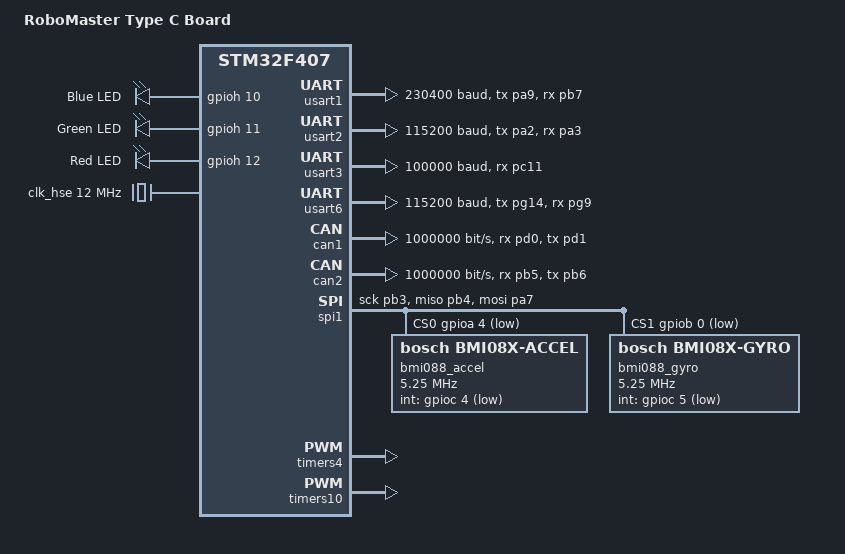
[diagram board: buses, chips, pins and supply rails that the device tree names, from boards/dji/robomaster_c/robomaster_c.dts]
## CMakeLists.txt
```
cmake_minimum_required(VERSION 3.20.0)

find_package(Zephyr REQUIRED HINTS $ENV{ZEPHYR_BASE})
project(unit2_app)

target_sources(app PRIVATE
	src/main.c
	src/balance_ctrl.c
	src/chassis_base.c
	src/chassis_inputs.c
	src/chassis_outputs.c
	src/chassis_telemetry.c
	src/chassis_threads.c
	src/chassis_sm.c
	src/x_axis_motor_map.c
	src/rm_sbus.c
	src/dm4310_motor.c
	src/rm_m3508.c
	src/rm_imu.c
	src/lk_motor.c
)
```

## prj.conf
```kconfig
CONFIG_SENSOR=y
CONFIG_SENSOR_ASYNC_API=y
CONFIG_BMI08X=y
CONFIG_SPI=y
CONFIG_GPIO=y
CONFIG_DMA=y
CONFIG_SERIAL=y
CONFIG_UART_ASYNC_API=y
CONFIG_CAN=y
CONFIG_PRINTK=y
CONFIG_LOG=y
CONFIG_CBPRINTF_FP_SUPPORT=y
CONFIG_FLASH=y
CONFIG_FLASH_MAP=y
CONFIG_NVS=y
```

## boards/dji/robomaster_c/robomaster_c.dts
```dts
/*
 * SPDX-License-Identifier: Apache-2.0
 */

/dts-v1/;

#include <st/f4/stm32f407Xg.dtsi>
#include <st/f4/stm32f407i(e-g)hx-pinctrl.dtsi>
#include <zephyr/dt-bindings/dma/stm32_dma.h>
#include <zephyr/dt-bindings/gpio/gpio.h>

/ {
	model = "RoboMaster Type C Board";
	compatible = "dji,robomaster-c", "st,stm32f407";

	chosen {
		zephyr,console = &usart6;
		zephyr,shell-uart = &usart2;
		zephyr,sram = &sram0;
		zephyr,flash = &flash0;
		zephyr,dtcm = &ccm0;
		zephyr,canbus = &can1;
	};

	aliases {
		led0 = &blue_led;
		led1 = &green_led;
		led2 = &red_led;
		watchdog0 = &iwdg;
	};

	leds {
		compatible = "gpio-leds";

		blue_led: led_0 {
			gpios = <&gpioh 10 GPIO_ACTIVE_HIGH>;
			label = "Blue LED";
		};

		green_led: led_1 {
			gpios = <&gpioh 11 GPIO_ACTIVE_HIGH>;
			label = "Green LED";
		};

		red_led: led_2 {
			gpios = <&gpioh 12 GPIO_ACTIVE_HIGH>;
			label = "Red LED";
		};
	};
};

&clk_hse {
	clock-frequency = <DT_FREQ_M(12)>;
	status = "okay";
};

&pll {
	div-m = <6>;
	mul-n = <168>;
	div-p = <2>;
	div-q = <7>;
	clocks = <&clk_hse>;
	status = "okay";
};

&rcc {
	clocks = <&pll>;
	clock-frequency = <DT_FREQ_M(168)>;
	ahb-prescaler = <1>;
	apb1-prescaler = <4>;
	apb2-prescaler = <2>;
};

&usart1 {
	pinctrl-0 = <&usart1_tx_pa9 &usart1_rx_pb7>;
	pinctrl-names = "default";
	current-speed = <230400>;
	status = "okay";
};

&usart2 {
	pinctrl-0 = <&usart2_tx_pa2 &usart2_rx_pa3>;
	pinctrl-names = "default";
	current-speed = <115200>;
	status = "okay";
};

&usart3 {
	pinctrl-0 = <&usart3_rx_pc11>;
	pinctrl-names = "default";
	current-speed = <100000>;
	dmas = <&dma1 3 4 STM32_DMA_PERIPH_TX STM32_DMA_FIFO_FULL>,
	       <&dma1 1 4 (STM32_DMA_PERIPH_RX | STM32_DMA_MODE_CYCLIC) STM32_DMA_FIFO_FULL>;
	dma-names = "tx", "rx";
	status = "okay";
};

&dma1 {
	status = "okay";
};

&usart6 {
	pinctrl-0 = <&usart6_tx_pg14 &usart6_rx_pg9>;
	pinctrl-names = "default";
	current-speed = <115200>;
	status = "okay";
};

&can1 {
	pinctrl-0 = <&can1_rx_pd0 &can1_tx_pd1>;
	pinctrl-names = "default";
	bitrate = <1000000>;
	status = "okay";
};

&can2 {
	pinctrl-0 = <&can2_rx_pb5 &can2_tx_pb6>;
	pinctrl-names = "default";
	bitrate = <1000000>;
	status = "okay";
};

&flash0 {
	partitions {
		compatible = "fixed-partitions";
		#address-cells = <1>;
		#size-cells = <1>;

		code_partition: partition@0 {
			label = "image-0";
			reg = <0x00000000 0x000c0000>;
		};

		storage_partition: partition@c0000 {
			label = "storage";
			reg = <0x000c0000 0x00040000>;
		};
	};
};

&spi1 {
	pinctrl-0 = <&spi1_sck_pb3 &spi1_miso_pb4 &spi1_mosi_pa7>;
	pinctrl-names = "default";
	cs-gpios = <&gpioa 4 GPIO_ACTIVE_LOW>,
		   <&gpiob 0 GPIO_ACTIVE_LOW>;
	status = "okay";

	bmi088_accel: bmi088-accel@0 {
		compatible = "bosch,bmi08x-accel";
		reg = <0>;
		spi-max-frequency = <5250000>;
		spi-cpol;
		spi-cpha;
		int-gpios = <&gpioc 4 GPIO_ACTIVE_LOW>;
		int1-map-io = <0x01>;
		int1-conf-io = <0x08>;
		int2-map-io = <0x01>;
		int2-conf-io = <0x08>;
		accel-hz = "800";
		accel-fs = <3>;
	};

	bmi088_gyro: bmi088-gyro@1 {
		compatible = "bosch,bmi08x-gyro";
		reg = <1>;
		spi-max-frequency = <5250000>;
		spi-cpol;
		spi-cpha;
		int-gpios = <&gpioc 5 GPIO_ACTIVE_LOW>;
		int3-4-map-io = <0x01>;
		int3-4-conf-io = <0x00>;
		gyro-hz = "1000_116";
		gyro-fs = <2000>;
	};
};

&timers4 {
	status = "okay";

	buzzer_pwm: pwm {
		pinctrl-0 = <&tim4_ch3_pd14>;
		pinctrl-names = "default";
		status = "okay";
	};
};

&timers10 {
	status = "okay";

	imu_heater_pwm: pwm {
		pinctrl-0 = <&tim10_ch1_pf6>;
		pinctrl-names = "default";
		status = "okay";
	};
};
```

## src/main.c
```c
#include "chassis_base.h"
#include "chassis_threads.h"
#include "dm4310_motor.h"

#include <zephyr/kernel.h>
#include <zephyr/sys/printk.h>

int main(void)
{
	printk("Unit2: joint-hold + hub-motor PID balance\n");

	chassis_base_init();
	chassis_threads_start();

	/* Wait up to 5s for DM4310 bringup (joints need 24V power) */
	printk("Waiting for DM4310 bringup (max 5s)...\n");
	for (int i = 0; i < 100 && !g_dm4310.bringup_done; i++) {
		k_sleep(K_MSEC(50));
	}
	if (g_dm4310.bringup_done) {
		printk("Bringup done (%u motors online), holding joints\n", g_dm4310.online_mask);
	} else {
		printk("Bringup timeout - joint hold disabled, balance only\n");
	}

	/* Auto-enable without remote: force SBUS connected + all switches on */
	g_chassis_debug_override.magic = 0x44424731U;
	g_chassis_debug_override.force_sbus_connected = 1U;
	g_chassis_debug_override.force_ch5 = 2U;
	g_chassis_debug_override.force_ch6 = 2U;
	g_chassis_debug_override.force_ch8 = 2U;

	printk("Balance control auto-enabled. Stand by.\n");

	while (1) {
		k_sleep(K_FOREVER);
	}

	return 0;
}
```

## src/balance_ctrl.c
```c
#include "balance_ctrl.h"

#include <math.h>
#include <string.h>

/* Balance control tunables. Keep this block together for OpenOCD tuning. */
#define BALANCE_WHEEL_SPEED_LIMIT_RPM 3000.0f
#define BALANCE_WHEEL_CURRENT_LIMIT 16384.0f
#define BALANCE_RC_INPUT_MAX 1684.0f
#define BALANCE_RC_SPEED_LIMIT_RPM BALANCE_WHEEL_SPEED_LIMIT_RPM

/* Set to -1.0f if wheels spin the wrong direction when tilting */
#define BALANCE_PITCH_SIGN 1.0f

#define BALANCE_SPEED_KP_DEFAULT 10.0f
#define BALANCE_SPEED_KI_DEFAULT 0.02f
#define BALANCE_SPEED_INTEGRAL_LIMIT 80000.0f

#define BALANCE_PITCH_KP_DEFAULT 30.0f
#define BALANCE_PITCH_KD_DEFAULT 0.5f

volatile struct balance_ctrl_state g_balance_ctrl = {
	.magic = BALANCE_CTRL_MAGIC,
};

static float clampf_local(float value, float min_value, float max_value)
{
	if (value > max_value) {
		return max_value;
	}
	if (value < min_value) {
		return min_value;
	}

	return value;
}

static void clear_output(struct balance_ctrl_output *output)
{
	output->active = 0U;
	output->wheel_current[0] = 0;
	output->wheel_current[1] = 0;
}

static void clear_runtime(volatile struct balance_ctrl_state *ctrl)
{
	ctrl->pitch_zero_deg = 0.0f;
	ctrl->pitch_deg = 0.0f;
	ctrl->pitch_rate_dps = 0.0f;
	ctrl->pitch_target_deg = 0.0f;
	ctrl->pitch_error_deg = 0.0f;
	ctrl->pitch_rate_error_dps = 0.0f;
	ctrl->speed_target_rpm = 0.0f;
	ctrl->rc_speed_target_rpm = 0.0f;
	ctrl->balance_speed_target_rpm = 0.0f;
	ctrl->left_speed_target_rpm = 0.0f;
	ctrl->right_speed_target_rpm = 0.0f;
	ctrl->vehicle_speed_rpm = 0.0f;
	ctrl->left_speed_error_rpm = 0.0f;
	ctrl->right_speed_error_rpm = 0.0f;
	ctrl->left_speed_integral = 0.0f;
	ctrl->right_speed_integral = 0.0f;
	ctrl->pitch_p_out_rpm = 0.0f;
	ctrl->pitch_d_out_rpm = 0.0f;
	ctrl->left_speed_p_out = 0.0f;
	ctrl->left_speed_i_out = 0.0f;
	ctrl->right_speed_p_out = 0.0f;
	ctrl->right_speed_i_out = 0.0f;
	ctrl->left_current = 0.0f;
	ctrl->right_current = 0.0f;
}

static void controller_reset(volatile struct balance_ctrl_state *ctrl)
{
	ctrl->enabled = 0U;
	ctrl->captured = 0U;
	clear_runtime(ctrl);
}

static float rc_to_speed_target_rpm(int32_t rc_forward)
{
	float target = (float)rc_forward * BALANCE_RC_SPEED_LIMIT_RPM / BALANCE_RC_INPUT_MAX;

	return clampf_local(target, -BALANCE_RC_SPEED_LIMIT_RPM,
			    BALANCE_RC_SPEED_LIMIT_RPM);
}

static float update_pitch_loop(volatile struct balance_ctrl_state *ctrl,
			       const struct balance_ctrl_input *input)
{
	ctrl->pitch_deg = input->pitch_deg;
	ctrl->pitch_rate_dps = input->pitch_rate_dps;
	ctrl->pitch_target_deg = ctrl->pitch_zero_deg;
	ctrl->pitch_error_deg = (input->pitch_deg - ctrl->pitch_zero_deg) * BALANCE_PITCH_SIGN;
	ctrl->pitch_rate_error_dps = input->pitch_rate_dps * BALANCE_PITCH_SIGN;
	ctrl->pitch_p_out_rpm = ctrl->pitch_pd.kp * ctrl->pitch_error_deg;
	ctrl->pitch_d_out_rpm = ctrl->pitch_pd.kd * ctrl->pitch_rate_error_dps;
	ctrl->balance_speed_target_rpm = ctrl->pitch_p_out_rpm + ctrl->pitch_d_out_rpm;

	return clampf_local(ctrl->balance_speed_target_rpm,
			    -BALANCE_WHEEL_SPEED_LIMIT_RPM,
			    BALANCE_WHEEL_SPEED_LIMIT_RPM);
}

static float update_wheel_speed_loop(volatile struct balance_ctrl_state *ctrl,
				     float target_rpm, float actual_rpm, uint8_t left)
{
	float error = target_rpm - actual_rpm;
	float integral;
	float p_out;
	float i_out;
	float current;

	if (left != 0U) {
		ctrl->left_speed_error_rpm = error;
		ctrl->left_speed_integral += error;
		ctrl->left_speed_integral =
			clampf_local(ctrl->left_speed_integral,
				     -ctrl->speed_pi.integral_limit,
				     ctrl->speed_pi.integral_limit);
		integral = ctrl->left_speed_integral;
	} else {
		ctrl->right_speed_error_rpm = error;
		ctrl->right_speed_integral += error;
		ctrl->right_speed_integral =
			clampf_local(ctrl->right_speed_integral,
				     -ctrl->speed_pi.integral_limit,
				     ctrl->speed_pi.integral_limit);
		integral = ctrl->right_speed_integral;
	}

	p_out = ctrl->speed_pi.kp * error;
	i_out = ctrl->speed_pi.ki * integral;
	current = clampf_local(p_out + i_out, -ctrl->speed_pi.output_limit,
			       ctrl->speed_pi.output_limit);

	if (left != 0U) {
		ctrl->left_speed_p_out = p_out;
		ctrl->left_speed_i_out = i_out;
		ctrl->left_current = current;
	} else {
		ctrl->right_speed_p_out = p_out;
		ctrl->right_speed_i_out = i_out;
		ctrl->right_current = current;
	}

	return current;
}

void balance_ctrl_init(volatile struct balance_ctrl_state *ctrl)
{
	memset((void *)ctrl, 0, sizeof(*ctrl));
	ctrl->magic = BALANCE_CTRL_MAGIC;

	ctrl->speed_pi.kp = BALANCE_SPEED_KP_DEFAULT;
	ctrl->speed_pi.ki = BALANCE_SPEED_KI_DEFAULT;
	ctrl->speed_pi.integral_limit = BALANCE_SPEED_INTEGRAL_LIMIT;
	ctrl->speed_pi.output_limit = BALANCE_WHEEL_CURRENT_LIMIT;

	ctrl->pitch_pd.kp = BALANCE_PITCH_KP_DEFAULT;
	ctrl->pitch_pd.kd = BALANCE_PITCH_KD_DEFAULT;
	ctrl->pitch_pd.output_limit = BALANCE_WHEEL_SPEED_LIMIT_RPM;
}

void balance_ctrl_update(volatile struct balance_ctrl_state *ctrl,
			 const struct balance_ctrl_input *input,
			 struct balance_ctrl_output *output)
{
	float rc_speed_target;
	float balance_speed_target;
	float left_current;
	float right_current;

	ctrl->update_count++;
	ctrl->last_ms = input->now_ms;
	ctrl->enabled = input->enabled;

	clear_output(output);

	if (input->enabled == 0U) {
		controller_reset(ctrl);
		return;
	}

	if (ctrl->captured == 0U) {
		ctrl->pitch_zero_deg = input->pitch_deg;
		ctrl->captured = 1U;
	}

	rc_speed_target = rc_to_speed_target_rpm(input->rc_forward);
	balance_speed_target = update_pitch_loop(ctrl, input);

	ctrl->rc_speed_target_rpm = rc_speed_target;
	ctrl->speed_target_rpm = rc_speed_target;
	ctrl->vehicle_speed_rpm =
		((float)input->wheel_speed_rpm[0] + (float)input->wheel_speed_rpm[1]) *
		0.5f;
	ctrl->left_speed_target_rpm =
		clampf_local(balance_speed_target + rc_speed_target,
			     -BALANCE_WHEEL_SPEED_LIMIT_RPM,
			     BALANCE_WHEEL_SPEED_LIMIT_RPM);
	ctrl->right_speed_target_rpm = ctrl->left_speed_target_rpm;

	left_current = update_wheel_speed_loop(ctrl, ctrl->left_speed_target_rpm,
					       (float)input->wheel_speed_rpm[0], 1U);
	right_current = update_wheel_speed_loop(ctrl, ctrl->right_speed_target_rpm,
						(float)input->wheel_speed_rpm[1], 0U);

	output->active = 1U;
	output->wheel_current[0] = (int16_t)lrintf(left_current);
	output->wheel_current[1] = (int16_t)lrintf(right_current);
}
```

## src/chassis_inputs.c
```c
#include "chassis_inputs.h"

#include "chassis_base.h"
#include "dm4310_motor.h"
#include "rm_imu.h"
#include "rm_m3508.h"
#include "rm_sbus.h"

#define CONTROL_DT_S 0.001f
#define SBUS_RAW_MIN 240
#define SBUS_RAW_MAX 1807
#define SBUS_CH0_ZERO_RAW 1024
#define SBUS_CH1_ZERO_RAW 1027
#define SBUS_RAW_DEADBAND 8
#define RAD_TO_DEG 57.295779513f

static int32_t sbus_raw_to_target(uint16_t raw, uint16_t zero_raw)
{
	int32_t delta = (int32_t)raw - (int32_t)zero_raw;
	int32_t span;

	if (delta > -SBUS_RAW_DEADBAND && delta < SBUS_RAW_DEADBAND) {
		return 0;
	}

	if (delta >= 0) {
		span = SBUS_RAW_MAX - (int32_t)zero_raw;
	} else {
		span = (int32_t)zero_raw - SBUS_RAW_MIN;
	}

	if (span <= 0) {
		return 0;
	}

	return (delta * 1684) / span;
}

void chassis_build_balance_input(struct balance_ctrl_input *input, uint32_t now)
{
	input->now_ms = now;
	input->dt_s = CONTROL_DT_S;
	input->enabled =
		(g_chassis_sm.allow_output != 0U && g_chassis_sm.chassis_control_active != 0U) ? 1U : 0U;
	input->position_hold_enabled = input->enabled;
	if (g_chassis_debug_override.magic == 0x44424731U &&
	    g_chassis_debug_override.force_rc != 0U) {
		input->rc_forward = g_chassis_debug_override.rc_forward;
		input->rc_turn = g_chassis_debug_override.rc_turn;
	} else if (g_sbus_snapshot.connected != 0U) {
		input->rc_forward = sbus_raw_to_target(g_sbus_snapshot.raw[1], SBUS_CH1_ZERO_RAW);
		input->rc_turn = sbus_raw_to_target(g_sbus_snapshot.raw[0], SBUS_CH0_ZERO_RAW);
	} else {
		input->rc_forward = 0;
		input->rc_turn = 0;
	}
	input->pitch_deg = g_rm_imu.pitch;
	input->pitch_rate_dps = g_rm_imu.gyro[1] * RAD_TO_DEG;

	for (int i = 0; i < BALANCE_CTRL_WHEEL_COUNT; i++) {
		input->wheel_online[i] = g_rm_m3508.motor[i].online;
		input->wheel_angle_raw[i] = g_rm_m3508.motor[i].angle_raw;
		input->wheel_speed_rpm[i] = g_rm_m3508.motor[i].speed_rpm;
	}
}

void chassis_build_sm_input(struct chassis_sm_input *input, uint32_t now)
{
	input->now_ms = now;
	input->joint_online_mask = g_dm4310.online_mask;
	input->sbus_connected = g_sbus_snapshot.connected;
	input->fault = 0U;
	input->ch5 = g_sbus_snapshot.channel[4];
	input->ch6 = g_sbus_snapshot.channel[5];
	input->ch8 = g_sbus_snapshot.channel[7];
	if (g_chassis_debug_override.magic == 0x44424731U) {
		if (g_chassis_debug_override.force_sbus_connected != 0U) {
			input->sbus_connected = g_chassis_debug_override.force_sbus_connected;
		}
		if (g_chassis_debug_override.force_ch5 != 0U) {
			input->ch5 = g_chassis_debug_override.force_ch5;
		}
		if (g_chassis_debug_override.force_ch6 != 0U) {
			input->ch6 = g_chassis_debug_override.force_ch6;
		}
		if (g_chassis_debug_override.force_ch8 != 0U) {
			input->ch8 = g_chassis_debug_override.force_ch8;
		}
		if (g_chassis_debug_override.force_sbus_connected != 0U &&
		    g_chassis_debug_override.force_ch5 == 2U) {
			input->joint_online_mask = CHASSIS_SM_JOINT_REQUIRED_MASK;
		}
	}

	for (int i = 0; i < CHASSIS_SM_JOINT_COUNT; i++) {
		input->joint_position[i] = g_dm4310.motor[i].pos_rad;
	}
}
```

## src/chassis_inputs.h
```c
#ifndef CHASSIS_INPUTS_H_
#define CHASSIS_INPUTS_H_

#include "balance_ctrl.h"
#include "chassis_sm.h"

#include <stdint.h>

void chassis_build_balance_input(struct balance_ctrl_input *input, uint32_t now);
void chassis_build_sm_input(struct chassis_sm_input *input, uint32_t now);

#endif
```

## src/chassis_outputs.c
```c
#include "chassis_outputs.h"

#include "balance_ctrl.h"
#include "chassis_base.h"
#include "chassis_inputs.h"
#include "chassis_sm.h"
#include "dm4310_motor.h"
#include "rm_m3508.h"
#include "rm_sbus.h"

static uint8_t last_m3508_mode;
static uint8_t last_joint_output_active;
static uint8_t last_chassis_output_active;

uint8_t chassis_apply_joint_state(void)
{
	float hold_ref[CHASSIS_SM_JOINT_COUNT];

	if (g_chassis_sm.allow_output == 0U || g_chassis_sm.joint_hold_active == 0U) {
		if (last_joint_output_active != 0U ||
		    (g_chassis_sm.events &
		     (CHASSIS_SM_EVENT_SYSTEM_ESTOP | CHASSIS_SM_EVENT_JOINT_RELAX)) != 0U) {
			dm4310_stop_all();
			g_chassis_base.joint_hold_ret = 0;
			last_joint_output_active = 0U;
			return 1U;
		}
		g_chassis_base.joint_hold_ret = 0;
		last_joint_output_active = 0U;
		return 0U;
	}

	for (int i = 0; i < CHASSIS_SM_JOINT_COUNT; i++) {
		hold_ref[i] = g_chassis_sm.joint_hold_ref[i];
	}
	if (last_joint_output_active == 0U ||
	    (g_chassis_sm.events & CHASSIS_SM_EVENT_JOINT_HOLD) != 0U) {
		dm4310_hold_reset();
	}
	g_chassis_base.joint_hold_ret =
		dm4310_hold_positions(hold_ref);
	last_joint_output_active = 1U;
	return 1U;
}

void chassis_apply_m3508_command(void)
{
	if (g_chassis_debug_override.magic == 0x44424731U &&
	    g_chassis_debug_override.force_m3508_current != 0U) {
		/* Debug override: bypass SM gate, send current directly */
		last_chassis_output_active = 1U;
		g_chassis_base.m3508_apply_ret = rm_m3508_set_all_current(
			g_chassis_m3508_cmd.current[RM_M3508_CAN1_ID201],
			g_chassis_m3508_cmd.current[RM_M3508_CAN2_ID202]);
		if (g_chassis_base.m3508_apply_ret == 0) {
			g_chassis_base.m3508_apply_ret = rm_m3508_send_currents();
		}
		last_m3508_mode = CHASSIS_M3508_MODE_CURRENT;
		return;
	}

	if (g_chassis_debug_override.magic == 0x44424731U &&
	    g_chassis_debug_override.force_m3508_current == 0U) {
		/* Balance mode: skip SM gate, send PID output */
	}

	if (g_chassis_m3508_cmd.mode == CHASSIS_M3508_MODE_DISABLED) {
		if (last_chassis_output_active != 0U ||
		    last_m3508_mode != CHASSIS_M3508_MODE_DISABLED ||
		    (g_chassis_sm.events &
		     (CHASSIS_SM_EVENT_SYSTEM_ESTOP | CHASSIS_SM_EVENT_CHASSIS_OFF)) != 0U) {
			rm_m3508_stop();
		}
		g_chassis_base.m3508_apply_ret = 0;
		last_chassis_output_active = 0U;
		last_m3508_mode = CHASSIS_M3508_MODE_DISABLED;
		return;
	}

	last_chassis_output_active = 1U;

	if (g_chassis_m3508_cmd.mode == CHASSIS_M3508_MODE_DISABLED &&
	    last_m3508_mode != CHASSIS_M3508_MODE_DISABLED) {
		rm_m3508_stop();
		g_chassis_base.m3508_apply_ret = 0;
		last_m3508_mode = g_chassis_m3508_cmd.mode;
		return;
	}

	switch (g_chassis_m3508_cmd.mode) {
	case CHASSIS_M3508_MODE_CURRENT:
		g_chassis_base.m3508_apply_ret = rm_m3508_set_all_current(
			g_chassis_m3508_cmd.current[RM_M3508_CAN1_ID201],
			g_chassis_m3508_cmd.current[RM_M3508_CAN2_ID202]);
		if (g_chassis_base.m3508_apply_ret == 0) {
			g_chassis_base.m3508_apply_ret = rm_m3508_send_currents();
		}
		break;
	case CHASSIS_M3508_MODE_DISABLED:
	default:
		g_chassis_base.m3508_apply_ret = 0;
		break;
	}

	last_m3508_mode = g_chassis_m3508_cmd.mode;
}

void chassis_apply_balance_control(uint32_t now)
{
	struct balance_ctrl_input input;
	struct balance_ctrl_output output;

	chassis_build_balance_input(&input, now);
	balance_ctrl_update(&g_balance_ctrl, &input, &output);

	g_chassis_base.balance_updates++;
	g_chassis_base.balance_active = output.active;
	g_chassis_base.balance_left_current = output.wheel_current[0];
	g_chassis_base.balance_right_current = output.wheel_current[1];

	if (output.active != 0U) {
		g_chassis_m3508_cmd.mode = CHASSIS_M3508_MODE_CURRENT;
		g_chassis_m3508_cmd.current[RM_M3508_CAN1_ID201] = output.wheel_current[0];
		g_chassis_m3508_cmd.current[RM_M3508_CAN2_ID202] = output.wheel_current[1];
	}
}

void chassis_update_common_status(uint32_t now)
{
	g_chassis_base.last_ms = now;
	g_chassis_base.sbus_seq = g_sbus_snapshot.seq;
	g_chassis_base.sbus_connected = g_sbus_snapshot.connected;
	g_chassis_base.lk_online_mask = g_dm4310.online_mask;
	g_chassis_base.lk_encoder_valid_mask = g_dm4310.online_mask;
	g_chassis_base.m3508_online_mask =
		(g_rm_m3508.motor[RM_M3508_CAN1_ID201].online ? 0x01U : 0U) |
		(g_rm_m3508.motor[RM_M3508_CAN2_ID202].online ? 0x02U : 0U);
	g_chassis_base.sm_events = g_chassis_sm.events;
	g_chassis_base.sm_joint_hold_valid_mask = g_chassis_sm.joint_hold_valid_mask;
	g_chassis_base.sm_system_state = g_chassis_sm.system_state;
	g_chassis_base.sm_joint_state = g_chassis_sm.joint_state;
	g_chassis_base.sm_chassis_state = g_chassis_sm.chassis_state;
	g_chassis_base.sm_fault = g_chassis_sm.fault;
	g_chassis_base.sbus_ch5 = g_chassis_sm.ch5;
	g_chassis_base.sbus_ch6 = g_chassis_sm.ch6;
	g_chassis_base.sbus_ch8 = g_chassis_sm.ch8;
}
```

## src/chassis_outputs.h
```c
#ifndef CHASSIS_OUTPUTS_H_
#define CHASSIS_OUTPUTS_H_

#include <stdint.h>

uint8_t chassis_apply_joint_state(void);
void chassis_apply_balance_control(uint32_t now);
void chassis_apply_m3508_command(void);
void chassis_update_common_status(uint32_t now);

#endif
```

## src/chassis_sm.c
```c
#include "chassis_sm.h"

#include <string.h>

volatile struct chassis_sm g_chassis_sm = {
	.magic = CHASSIS_SM_MAGIC,
};

static uint8_t switch_is_on(uint8_t value)
{
	return value == 2U ? 1U : 0U;
}

void chassis_sm_init(volatile struct chassis_sm *sm)
{
	memset((void *)sm, 0, sizeof(*sm));
	sm->magic = CHASSIS_SM_MAGIC;
	sm->system_state = CHASSIS_SM_SYSTEM_DISABLED;
	sm->joint_state = CHASSIS_SM_JOINT_RELAX;
	sm->chassis_state = CHASSIS_SM_CHASSIS_OFF;
}

void chassis_sm_update(volatile struct chassis_sm *sm, const struct chassis_sm_input *input)
{
	uint8_t system_state;
	uint8_t joint_state;
	uint8_t chassis_state;

	sm->update_count++;
	sm->last_ms = input->now_ms;
	sm->events = 0U;
	sm->sbus_connected = input->sbus_connected;
	sm->fault = input->fault;
	sm->ch5 = input->ch5;
	sm->ch6 = input->ch6;
	sm->ch8 = input->ch8;
	sm->ch5_on = switch_is_on(input->ch5);
	sm->ch6_on = switch_is_on(input->ch6);
	sm->ch8_on = switch_is_on(input->ch8);

	system_state = sm->system_state;
	if (input->sbus_connected == 0U || input->fault != 0U) {
		if (system_state != CHASSIS_SM_SYSTEM_ESTOP) {
			sm->events |= CHASSIS_SM_EVENT_SYSTEM_ESTOP;
		}
		system_state = CHASSIS_SM_SYSTEM_ESTOP;
	} else if (sm->ch5_on != 0U) {
		if (system_state != CHASSIS_SM_SYSTEM_ENABLED) {
			if ((input->joint_online_mask & CHASSIS_SM_JOINT_REQUIRED_MASK) ==
			    CHASSIS_SM_JOINT_REQUIRED_MASK) {
				for (int i = 0; i < CHASSIS_SM_JOINT_COUNT; i++) {
					sm->joint_hold_ref[i] = input->joint_position[i];
				}
				sm->joint_hold_valid_mask =
					input->joint_online_mask & CHASSIS_SM_JOINT_REQUIRED_MASK;
				sm->events |= CHASSIS_SM_EVENT_SYSTEM_ENABLED |
					      CHASSIS_SM_EVENT_JOINT_CAPTURED;
				system_state = CHASSIS_SM_SYSTEM_ENABLED;
			} else {
				system_state = CHASSIS_SM_SYSTEM_DISABLED;
			}
		} else {
			system_state = CHASSIS_SM_SYSTEM_ENABLED;
		}
	} else {
		if (system_state == CHASSIS_SM_SYSTEM_ENABLED) {
			system_state = CHASSIS_SM_SYSTEM_ESTOP;
			sm->events |= CHASSIS_SM_EVENT_SYSTEM_ESTOP;
		} else if (system_state != CHASSIS_SM_SYSTEM_ESTOP) {
			system_state = CHASSIS_SM_SYSTEM_DISABLED;
		}
	}
	sm->system_state = system_state;

	joint_state = (system_state == CHASSIS_SM_SYSTEM_ENABLED && sm->ch6_on != 0U) ?
			      CHASSIS_SM_JOINT_HOLD :
			      CHASSIS_SM_JOINT_RELAX;
	if (joint_state != sm->joint_state) {
		sm->events |= (joint_state == CHASSIS_SM_JOINT_HOLD) ?
				      CHASSIS_SM_EVENT_JOINT_HOLD :
				      CHASSIS_SM_EVENT_JOINT_RELAX;
		sm->joint_state = joint_state;
	}

	chassis_state = (system_state == CHASSIS_SM_SYSTEM_ENABLED && sm->ch8_on != 0U) ?
				CHASSIS_SM_CHASSIS_RUN :
				CHASSIS_SM_CHASSIS_OFF;
	if (chassis_state != sm->chassis_state) {
		sm->events |= (chassis_state == CHASSIS_SM_CHASSIS_RUN) ?
				      CHASSIS_SM_EVENT_CHASSIS_RUN :
				      CHASSIS_SM_EVENT_CHASSIS_OFF;
		sm->chassis_state = chassis_state;
	}

	sm->allow_output = system_state == CHASSIS_SM_SYSTEM_ENABLED ? 1U : 0U;
	sm->estop_active = system_state == CHASSIS_SM_SYSTEM_ESTOP ? 1U : 0U;
	sm->joint_hold_active = sm->joint_state == CHASSIS_SM_JOINT_HOLD ? 1U : 0U;
	sm->chassis_control_active =
		sm->chassis_state == CHASSIS_SM_CHASSIS_RUN ? 1U : 0U;
	sm->ch5_prev_on = sm->ch5_on;
	sm->ch6_prev_on = sm->ch6_on;
	sm->ch8_prev_on = sm->ch8_on;
}
```

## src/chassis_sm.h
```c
/**
 * @file chassis_sm.h
 * @brief 底盘状态机共享常量和结构体定义
 */

#ifndef CHASSIS_SM_H_
#define CHASSIS_SM_H_

#include <stdint.h>

#include <zephyr/sys/util.h>

/** @brief 关节电机数量 (4 台 DM4310: 左髋/左膝 + 右髋/右膝) */
#define CHASSIS_SM_JOINT_COUNT 4
#define CHASSIS_SM_JOINT_REQUIRED_MASK 0x0FU

#define CHASSIS_SM_MAGIC 0x4348334DU

/* 系统状态 */
#define CHASSIS_SM_SYSTEM_DISABLED 0U
#define CHASSIS_SM_SYSTEM_ENABLED  1U
#define CHASSIS_SM_SYSTEM_ESTOP    2U

/* 关节状态 */
#define CHASSIS_SM_JOINT_RELAX 0U
#define CHASSIS_SM_JOINT_HOLD  1U

/* 底盘控制状态 */
#define CHASSIS_SM_CHASSIS_OFF 0U
#define CHASSIS_SM_CHASSIS_RUN 1U

/* 事件位 */
#define CHASSIS_SM_EVENT_SYSTEM_ENABLED  BIT(0)
#define CHASSIS_SM_EVENT_SYSTEM_ESTOP    BIT(1)
#define CHASSIS_SM_EVENT_JOINT_CAPTURED  BIT(2)
#define CHASSIS_SM_EVENT_JOINT_HOLD      BIT(3)
#define CHASSIS_SM_EVENT_JOINT_RELAX     BIT(4)
#define CHASSIS_SM_EVENT_CHASSIS_RUN     BIT(5)
#define CHASSIS_SM_EVENT_CHASSIS_OFF     BIT(6)

struct chassis_sm {
	uint32_t magic;
	uint32_t update_count;
	uint32_t last_ms;
	uint32_t events;
	uint8_t sbus_connected;
	uint8_t fault;
	uint8_t ch5;
	uint8_t ch6;
	uint8_t ch8;
	uint8_t ch5_on;
	uint8_t ch6_on;
	uint8_t ch8_on;
	uint8_t ch5_prev_on;
	uint8_t ch6_prev_on;
	uint8_t ch8_prev_on;
	uint8_t system_state;
	uint8_t joint_state;
	uint8_t chassis_state;
	uint8_t allow_output;
	uint8_t estop_active;
	uint8_t joint_hold_active;
	uint8_t chassis_control_active;
	uint8_t reserved[2];
	float joint_hold_ref[CHASSIS_SM_JOINT_COUNT];
	uint32_t joint_hold_valid_mask;
};

struct chassis_sm_input {
	uint32_t now_ms;
	uint32_t joint_online_mask;
	uint8_t sbus_connected;
	uint8_t fault;
	uint8_t ch5;
	uint8_t ch6;
	uint8_t ch8;
	uint8_t reserved[3];
	float joint_position[CHASSIS_SM_JOINT_COUNT];
};

extern volatile struct chassis_sm g_chassis_sm;

void chassis_sm_init(volatile struct chassis_sm *sm);
void chassis_sm_update(volatile struct chassis_sm *sm, const struct chassis_sm_input *input);

#endif /* CHASSIS_SM_H_ */
```

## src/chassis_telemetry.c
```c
#include "chassis_telemetry.h"

#include "balance_ctrl.h"
#include "chassis_base.h"
#include "dm4310_motor.h"
#include "rm_imu.h"
#include "rm_m3508.h"

#include <zephyr/device.h>
#include <zephyr/devicetree.h>
#include <zephyr/drivers/uart.h>
#include <zephyr/kernel.h>
#include <zephyr/sys/printk.h>

#define TELEMETRY_THREAD_PERIOD_MS 10
#define TELEMETRY_THREAD_STACK_SIZE 2048
#define TELEMETRY_THREAD_PRIORITY 6
#define TELEMETRY_BUF_SIZE 384

static K_THREAD_STACK_DEFINE(telemetry_thread_stack, TELEMETRY_THREAD_STACK_SIZE);
static struct k_thread telemetry_thread_data;
static const struct device *const telemetry_uart = DEVICE_DT_GET(DT_NODELABEL(usart6));

static void telemetry_uart_write(const char *data, int len)
{
	if (len <= 0 || !device_is_ready(telemetry_uart)) {
		return;
	}

	for (int i = 0; i < len; i++) {
		uart_poll_out(telemetry_uart, data[i]);
	}
}

static void telemetry_thread(void *p1, void *p2, void *p3)
{
	ARG_UNUSED(p1);
	ARG_UNUSED(p2);
	ARG_UNUSED(p3);

	while (1) {
		char line[TELEMETRY_BUF_SIZE];
		int len;

		len = snprintk(line, sizeof(line),
			       "%.3f,%.3f,%.3f,%.3f,%.6f,%.6f,%d,%d,%.6f,%.6f,%.6f,%.6f,%u,%d,%u,%u,%u,%d,%d,%.6f,%.6f,%u,%d,%u,%u,%u,%u\n",
			       (double)g_rm_imu.pitch,
			       (double)g_balance_ctrl.left_speed_target_rpm,
			       (double)g_balance_ctrl.pitch_p_out_rpm,
			       (double)g_balance_ctrl.pitch_d_out_rpm,
			       (double)g_balance_ctrl.left_speed_p_out,
			       (double)g_balance_ctrl.left_speed_i_out,
			       g_rm_m3508.motor[RM_M3508_CAN1_ID201].speed_rpm,
			       g_rm_m3508.motor[RM_M3508_CAN2_ID202].speed_rpm,
			       (double)g_dm4310.motor[0].pos_rad,
			       (double)g_dm4310.motor[1].pos_rad,
			       (double)g_dm4310.motor[2].pos_rad,
			       (double)g_dm4310.motor[3].pos_rad,
			       g_chassis_debug_override.x_axis_calib_count,
			       g_chassis_debug_override.x_axis_calib_ret,
			       g_dm4310.can1_home_valid,
			       g_dm4310.can1_home_active,
			       g_dm4310.can1_home_auto_saved,
			       g_dm4310.can1_home_load_ret,
			       g_dm4310.can1_home_save_ret,
			       (double)g_dm4310.can1_home_pos_rad[0],
			       (double)g_dm4310.can1_home_pos_rad[1],
			       g_dm4310.online_mask,
			       g_dm4310.last_send_ret,
			       g_dm4310.motor[0].rx_count,
			       g_dm4310.motor[1].rx_count,
			       g_dm4310.motor[2].rx_count,
			       g_dm4310.motor[3].rx_count);
		if (len > (int)sizeof(line)) {
			len = sizeof(line);
		}
		telemetry_uart_write(line, len);
		k_sleep(K_MSEC(TELEMETRY_THREAD_PERIOD_MS));
	}
}

void chassis_telemetry_start(void)
{
	k_thread_create(&telemetry_thread_data, telemetry_thread_stack,
			K_THREAD_STACK_SIZEOF(telemetry_thread_stack), telemetry_thread, NULL, NULL,
			NULL, TELEMETRY_THREAD_PRIORITY, 0, K_NO_WAIT);
	k_thread_name_set(&telemetry_thread_data, "telemetry");
}
```

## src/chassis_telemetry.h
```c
#ifndef CHASSIS_TELEMETRY_H_
#define CHASSIS_TELEMETRY_H_

void chassis_telemetry_start(void);

#endif
```

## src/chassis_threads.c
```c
#include "chassis_threads.h"

#include "chassis_base.h"
#include "chassis_inputs.h"
#include "chassis_outputs.h"
#include "chassis_sm.h"
#include "chassis_telemetry.h"
#include "dm4310_motor.h"
#include "rm_imu.h"
#include "rm_m3508.h"
#include "x_axis_motor_map.h"

#include <zephyr/kernel.h>

#define IMU_THREAD_PERIOD_MS 2
#define CONTROL_THREAD_PERIOD_MS 1
#define IMU_THREAD_STACK_SIZE 2048
#define CONTROL_THREAD_STACK_SIZE 2048
#define IMU_THREAD_PRIORITY 2
#define CONTROL_THREAD_PRIORITY 3

static K_THREAD_STACK_DEFINE(imu_thread_stack, IMU_THREAD_STACK_SIZE);
static K_THREAD_STACK_DEFINE(control_thread_stack, CONTROL_THREAD_STACK_SIZE);
static struct k_thread imu_thread_data;
static struct k_thread control_thread_data;

static void chassis_update_x_axis_calibration(void)
{
	static uint32_t last_calib_seq;
	static uint32_t last_can1_home_save_seq;
	float motor_pos_rad[CHASSIS_SM_JOINT_COUNT];
	size_t count;

	if (g_chassis_debug_override.can1_home_save_seq != last_can1_home_save_seq) {
		last_can1_home_save_seq = g_chassis_debug_override.can1_home_save_seq;
		g_chassis_debug_override.can1_home_save_ret = dm4310_save_can1_home_current();
	}

	if (g_chassis_debug_override.x_axis_calib_seq == last_calib_seq) {
		return;
	}
	last_calib_seq = g_chassis_debug_override.x_axis_calib_seq;

	for (int motor = 0; motor < CHASSIS_SM_JOINT_COUNT; motor++) {
		motor_pos_rad[motor] = g_dm4310.motor[motor].pos_rad;
	}

	g_chassis_debug_override.x_axis_calib_ret =
		x_axis_motor_map_set_point(g_chassis_debug_override.x_axis_calib_x, motor_pos_rad);
	(void)x_axis_motor_map_points(&count);
	g_chassis_debug_override.x_axis_calib_count = count;
}

static void imu_thread(void *p1, void *p2, void *p3)
{
	ARG_UNUSED(p1);
	ARG_UNUSED(p2);
	ARG_UNUSED(p3);

	while (1) {
		const uint32_t now = k_uptime_get_32();

		if (g_chassis_base.imu_init_ret == 0) {
			g_chassis_base.imu_update_ret = rm_imu_update();
			g_chassis_base.imu_ready = g_chassis_base.imu_update_ret == 0 ? 1U : 0U;
		}
		g_chassis_base.imu_last_ms = now;
		g_chassis_base.imu_loops++;
		k_sleep(K_MSEC(IMU_THREAD_PERIOD_MS));
	}
}

static void control_thread(void *p1, void *p2, void *p3)
{
	ARG_UNUSED(p1);
	ARG_UNUSED(p2);
	ARG_UNUSED(p3);

	while (1) {
		const uint32_t now = k_uptime_get_32();
		struct chassis_sm_input sm_input = { 0 };

		if (g_chassis_base.lk_init_ret == 0) {
			dm4310_poll_rx();
			chassis_update_x_axis_calibration();
		}
		chassis_build_sm_input(&sm_input, now);
		chassis_sm_update(&g_chassis_sm, &sm_input);
		chassis_apply_joint_state();
		chassis_apply_balance_control(now);

		if (g_chassis_base.lk_init_ret == 0) {
			dm4310_tick();
		}

		if (g_chassis_base.m3508_init_ret == 0) {
			rm_m3508_poll();
			chassis_apply_m3508_command();
		}

		chassis_update_common_status(now);
		g_chassis_base.control_last_ms = now;
		g_chassis_base.control_loops++;
		k_sleep(K_MSEC(CONTROL_THREAD_PERIOD_MS));
	}
}

void chassis_threads_start(void)
{
	k_thread_create(&imu_thread_data, imu_thread_stack, K_THREAD_STACK_SIZEOF(imu_thread_stack),
			imu_thread, NULL, NULL, NULL, IMU_THREAD_PRIORITY, 0, K_NO_WAIT);
	k_thread_name_set(&imu_thread_data, "imu");

	k_thread_create(&control_thread_data, control_thread_stack,
			K_THREAD_STACK_SIZEOF(control_thread_stack), control_thread, NULL, NULL,
			NULL, CONTROL_THREAD_PRIORITY, 0, K_NO_WAIT);
	k_thread_name_set(&control_thread_data, "control");

	chassis_telemetry_start();
}
```

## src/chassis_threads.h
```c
#ifndef CHASSIS_THREADS_H_
#define CHASSIS_THREADS_H_

void chassis_threads_start(void);

#endif
```

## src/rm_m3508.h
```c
#ifndef RM_M3508_H_
#define RM_M3508_H_

#include <stdbool.h>
#include <stdint.h>

#include <zephyr/drivers/can.h>

#define RM_M3508_MAGIC 0x4D333530
#define RM_M3508_MOTOR_COUNT 2
#define RM_M3508_BUS_COUNT 2
#define RM_M3508_CONTROL_ID 0x200
#define RM_M3508_FIRST_FEEDBACK_ID 0x201
#define RM_M3508_FEEDBACK_ID_COUNT 1
#define RM_M3508_CURRENT_SLOT_COUNT 4
#define RM_M3508_ONLINE_TIMEOUT_MS 500

enum rm_m3508_id {
	RM_M3508_CAN1_ID201 = 0,
	RM_M3508_CAN2_ID202 = 1,
};

struct rm_m3508_motor {
	uint32_t rx_count;
	uint32_t last_ms;
	uint32_t last_can_id;
	uint8_t last_data[8];
	uint8_t online;
	uint16_t angle_raw;
	int16_t speed_rpm;
	int16_t current_raw;
	uint8_t temperature;
};

struct rm_m3508_bus {
	int32_t set_mode_ret;
	int32_t start_ret;
	int32_t filter_ret[RM_M3508_FEEDBACK_ID_COUNT];
	uint32_t tx_count;
	uint32_t rx_count;
	uint32_t parsed_count;
	uint32_t last_rx_ms;
	uint32_t last_tx_ms;
	int32_t last_send_ret;
	int16_t current_cmd[RM_M3508_CURRENT_SLOT_COUNT];
	uint32_t online_mask;
};

struct rm_m3508_driver {
	uint32_t magic;
	uint32_t ready_mask;
	uint32_t loops;
	struct rm_m3508_bus bus[RM_M3508_BUS_COUNT];
	struct rm_m3508_motor motor[RM_M3508_MOTOR_COUNT];
};

extern volatile struct rm_m3508_driver g_rm_m3508;

int rm_m3508_init(void);
void rm_m3508_poll(void);
int rm_m3508_send_currents(void);
int rm_m3508_set_current(enum rm_m3508_id id, int16_t current);
int rm_m3508_set_all_current(int16_t can1_id201_current, int16_t can2_id202_current);
void rm_m3508_stop(void);
bool rm_m3508_is_online(enum rm_m3508_id id);
const volatile struct rm_m3508_motor *rm_m3508_get(enum rm_m3508_id id);

void rm_m3508_make_zero_current_frame(struct can_frame *frame);
void rm_m3508_make_current_frame(struct can_frame *frame,
				 const int16_t current[RM_M3508_CURRENT_SLOT_COUNT]);

#endif
```
